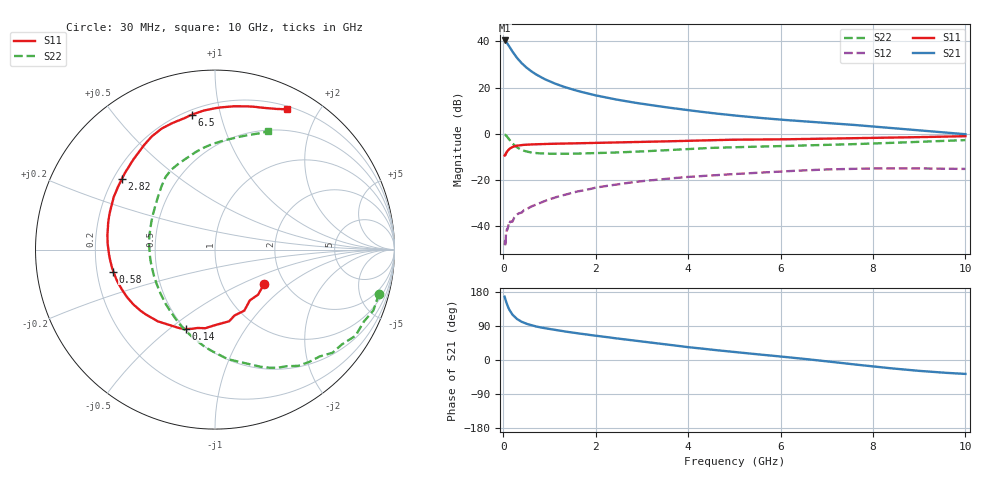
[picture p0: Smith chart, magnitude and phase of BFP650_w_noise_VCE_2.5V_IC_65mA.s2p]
! Infineon Technologies  Discrete & RF Semiconductors
! BFP650
! VCE =  2.5 V,  IC =  65 mA
! Common Emitter S-Parameters:  Jan 2016
# GHz  S  MA  R  50
!  f  S11  S21  S12  S22
! GHz  MAG  ANG  MAG  ANG  MAG  ANG  MAG  ANG
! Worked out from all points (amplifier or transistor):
!   229 points, 30 MHz to 10 GHz, reference 50 ohm
!   highest |S21| = 40.4 dB at 30 MHz (marker M1)
!   |S21| within 3 dB of that: start of sweep to 142.7 MHz
!   unconditionally stable (mu >= 1): 1.634 GHz to end of sweep
!   at 280 MHz: K = 0.54, MSG = 34.4 dB, |S12| = -35.4 dB
!   at 1.78 GHz: K = 1.01, MAG = 20.4 dB, |S12| = -24.5 dB
!   at 10 GHz: K = 1.03, MAG = 6.5 dB, |S12| = -15.3 dB
!   lowest NFmin = 1.11 dB at 450 MHz
!   S11 on the Smith chart (normalised r, x): 30 MHz: 1.57, -0.68; 140 MHz: 0.50, -0.57; 580 MHz: 0.27, -0.10; 2.82 GHz: 0.23, +0.32; 6.5 GHz: 0.23, +0.82; 10 GHz: 0.24, +1.61
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0.03  0.3337 -35.1  105.1 167.1  0.0038 83.8  0.946 -15.0
0.04  0.3475 -46.3  104 162.8  0.0047 67.6  0.9454 -21.0
0.05  0.3429 -55.5  101 158.4  0.0036 101.9  0.9213 -25.8
0.06  0.3774 -64.4  99.62 154.9  0.0074 77.7  0.9184 -31.5
0.08  0.4068 -78.8  93.62 147.6  0.0084 78.5  0.8711 -41.3
0.11  0.4415 -97.1  84.28 138.4  0.0098 63.8  0.7966 -54.4
0.14  0.4717 -110.2  75.17 131.0  0.0114 58.2  0.7251 -65.2
0.2  0.511 -128.5  60.31 119.7  0.0123 51.4  0.6148 -83.3
0.26  0.5359 -140.2  49.5 112.1  0.0162 54.9  0.5403 -96.8
0.3  0.5477 -146.0  43.77 108.1  0.0176 55.1  0.503 -104.7
0.4  0.5636 -156.3  33.74 100.8  0.0193 55.7  0.4431 -119.8
0.58  0.5799 -167.8  23.67 92.8  0.0252 56.8  0.3935 -139.0
0.8  0.5905 -176.8  17.09 86.1  0.0312 58.4  0.3724 -155.0
1  0.5989 177.2  13.64 81.7  0.0375 58.2  0.3652 -165.3
1.7  0.6196 161.8  7.991 69.0  0.0576 54.1  0.3709 171.5
2.82  0.652 142.6  4.731 51.3  0.0883 43.7  0.4027 147.6
3.4  0.6725 133.8  3.881 42.9  0.1015 37.2  0.429 138.3
5.1  0.7381 112.6  2.419 20.0  0.1341 19.9  0.51 117.4
6.5  0.763 99.7  1.853 3.0  0.159 6.3  0.5527 101.5
6.8  0.7708 96.6  1.764 -0.8  0.1634 2.9  0.5619 98.8
8.4  0.8181 77.3  1.321 -22.0  0.1756 -14.9  0.6293 80.7
10  0.8779 62.9  0.97 -36.7  0.1709 -27.5  0.7221 66.0
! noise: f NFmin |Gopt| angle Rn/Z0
0.45  1.11  0.47  -171  0.06
0.9  1.13  0.48  -166  0.06
1.9  1.27  0.5  -151  0.07
2.4  1.35  0.48  -142  0.09
3.5  1.56  0.5  -118  0.16
